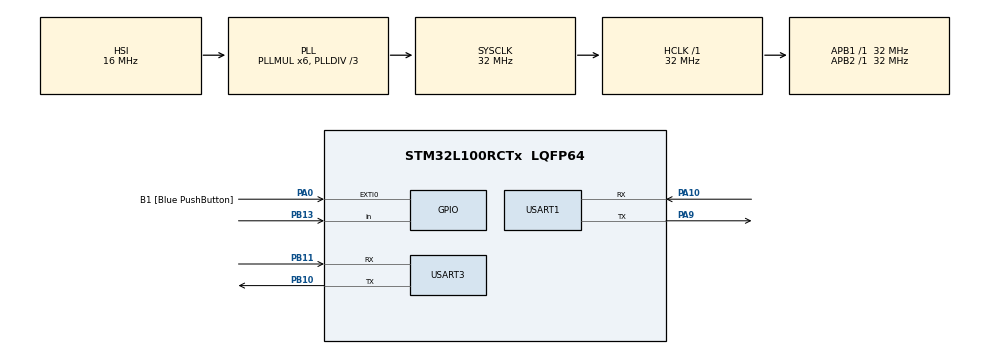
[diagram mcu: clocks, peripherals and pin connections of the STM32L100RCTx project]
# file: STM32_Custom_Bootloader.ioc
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Mcu.Family=STM32L1
Mcu.Name=STM32L100RCTx
Mcu.Package=LQFP64
NVIC.PriorityGroup=NVIC_PRIORITYGROUP_0
PA0-WKUP1.GPIO_Label=B1 [Blue PushButton]
PA0-WKUP1.GPIO_ModeDefaultEXTI=GPIO_MODE_EVT_RISING
PA0-WKUP1.Signal=GPXTI0
PA10.Mode=Asynchronous
PA10.Signal=USART1_RX
PA13.GPIO_Label=SWDIO
PA13.Mode=Serial_Wire
PA13.Signal=SYS_JTMS-SWDIO
PA14.GPIO_Label=SWCLK
PA14.Mode=Serial_Wire
PA14.Signal=SYS_JTCK-SWCLK
PA9.Mode=Asynchronous
PA9.Signal=USART1_TX
PB10.Mode=Asynchronous
PB10.Signal=USART3_TX
PB11.Mode=Asynchronous
PB11.Signal=USART3_RX
PB13.Signal=GPIO_Input
PB3.GPIO_Label=SWO
PB3.Signal=SYS_JTDO-TRACESWO
PC14-OSC32_IN.GPIO_Label=PC14-OSC32_IN
PC14-OSC32_IN.Signal=RCC_OSC32_IN
PC15-OSC32_OUT.GPIO_Label=PC15-OSC32_OUT
PC15-OSC32_OUT.Signal=RCC_OSC32_OUT
PH0-OSC_IN.GPIO_Label=PH0-OSC_IN
PH0-OSC_IN.Mode=HSE-External-Clock-Source
PH0-OSC_IN.Signal=RCC_OSC_IN
PH1-OSC_OUT.GPIO_Label=PH1-OSC_OUT
PH1-OSC_OUT.Signal=RCC_OSC_OUT
ProjectManager.HeapSize=0x200
ProjectManager.StackSize=0x400
ProjectManager.TargetToolchain=SW4STM32
RCC.48MHZClocksFreq_Value=48000000
RCC.AHBFreq_Value=32000000
RCC.APB1Freq_Value=32000000
RCC.APB1TimFreq_Value=32000000
RCC.APB2Freq_Value=32000000
RCC.APB2TimFreq_Value=32000000
RCC.HCLKFreq_Value=32000000
RCC.HSE_VALUE=8000000
RCC.HSI_VALUE=16000000
RCC.LSEState=RCC_LSE_ON
RCC.LSE_VALUE=32768
RCC.MSI_VALUE=2097000
RCC.PLLDIV=RCC_PLL_DIV3
RCC.PLLMUL=RCC_PLL_MUL6
RCC.RTCClockSelectionVirtual=RCC_RTCCLKSOURCE_LSE
RCC.SYSCLKFreq_VALUE=32000000
RCC.SYSCLKSource=RCC_SYSCLKSOURCE_PLLCLK
RCC.USBOutput=48000000
RCC.VCOOutputFreq_Value=96000000
USART1.VirtualMode=VM_ASYNC
USART3.VirtualMode=VM_ASYNC
VP_CRC_VS_CRC.Mode=CRC_Activate
board=32L100CDISCOVERY

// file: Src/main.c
/* USER CODE BEGIN Header */
/**
  ******************************************************************************
  * @file           : main.c
  * @brief          : Main program body
  ******************************************************************************
  ** This notice applies to any and all portions of this file
  * that are not between comment pairs USER CODE BEGIN and
  * USER CODE END. Other portions of this file, whether
  * inserted by the user or by software development tools
  * are owned by their respective copyright owners.
  *
  * COPYRIGHT(c) 2021 STMicroelectronics
  *
  * Redistribution and use in source and binary forms, with or without modification,
  * are permitted provided that the following conditions are met:
  *   1. Redistributions of source code must retain the above copyright notice,
  *      this list of conditions and the following disclaimer.
  *   2. Redistributions in binary form must reproduce the above copyright notice,
  *      this list of conditions and the following disclaimer in the documentation
  *      and/or other materials provided with the distribution.
  *   3. Neither the name of STMicroelectronics nor the names of its contributors
  *      may be used to endorse or promote products derived from this software
  *      without specific prior written permission.
  *
  * THIS SOFTWARE IS PROVIDED BY THE COPYRIGHT HOLDERS AND CONTRIBUTORS "AS IS"
  * AND ANY EXPRESS OR IMPLIED WARRANTIES, INCLUDING, BUT NOT LIMITED TO, THE
  * IMPLIED WARRANTIES OF MERCHANTABILITY AND FITNESS FOR A PARTICULAR PURPOSE ARE
  * DISCLAIMED. IN NO EVENT SHALL THE COPYRIGHT HOLDER OR CONTRIBUTORS BE LIABLE
  * FOR ANY DIRECT, INDIRECT, INCIDENTAL, SPECIAL, EXEMPLARY, OR CONSEQUENTIAL
  * DAMAGES (INCLUDING, BUT NOT LIMITED TO, PROCUREMENT OF SUBSTITUTE GOODS OR
  * SERVICES; LOSS OF USE, DATA, OR PROFITS; OR BUSINESS INTERRUPTION) HOWEVER
  * CAUSED AND ON ANY THEORY OF LIABILITY, WHETHER IN CONTRACT, STRICT LIABILITY,
  * OR TORT (INCLUDING NEGLIGENCE OR OTHERWISE) ARISING IN ANY WAY OUT OF THE USE
  * OF THIS SOFTWARE, EVEN IF ADVISED OF THE POSSIBILITY OF SUCH DAMAGE.
  *
  ******************************************************************************
  */
/* USER CODE END Header */

#include "main.h"
#include "crc.h"
#include "usart.h"
#include "gpio.h"

/* USER CODE BEGIN Includes */
#include "retarget.h"
/* USER CODE END Includes */

/* USER CODE BEGIN PD */
#define BL_RX_LEN  200
/* USER CODE END PD */

/* USER CODE BEGIN PV */
 uint8_t bl_rx_buffer[BL_RX_LEN];

 uint8_t supported_commands[] = {
                                BL_GET_VER ,
                                BL_GET_HELP,
                                BL_GET_CID,
                                BL_GET_RDP_STATUS,
                                BL_GO_TO_ADDR,
                                BL_FLASH_ERASE,
                                BL_MEM_WRITE,
                                BL_READ_SECTOR_P_STATUS} ;

/* USER CODE END PV */

void SystemClock_Config(void);

int main(void)
{

  /* MCU Configuration--------------------------------------------------------*/

  /* Reset of all peripherals, Initializes the Flash interface and the Systick. */
  HAL_Init();

  /* Configure the system clock */
  SystemClock_Config();

  /* Initialize all configured peripherals */
  MX_GPIO_Init();
  MX_USART1_UART_Init();
  MX_USART3_UART_Init();
  MX_CRC_Init();
  /* USER CODE BEGIN 2 */
//  char *data = "harry from uart1\r\n";
//  char *data1 = "harry from uart2\r\n";
  RetargetInit(&huart3);
  if(HAL_GPIO_ReadPin(GPIOB,GPIO_PIN_13) == GPIO_PIN_SET) {
		 printf("we are in a bootloader mode \r\n");
		 bootloader_uart_read_data();
  } else {
		 printf("we are in a application \r\n");
		 bootloader_jump_to_user_app();
  }

  /* USER CODE END 2 */

  /* Infinite loop */
  while (1)
  {

    /* USER CODE BEGIN 3 */
//	  HAL_UART_Transmit(&huart1,(uint8_t*)data,strlen(data),HAL_MAX_DELAY);
//	  HAL_UART_Transmit(&huart3,(uint8_t*)data1,strlen(data1),HAL_MAX_DELAY);
//	 printf("welcome to the app \r\n");

  }
  /* USER CODE END 3 */
}

void bootloader_uart_read_data(void) {
	uint8_t rcv_len = 0;
	while(1){
		memset(bl_rx_buffer,0,200);
		//here we will read and decode the commands coming from host
		//first read only one byte from the host , which is the "length" field of the command packet
        HAL_UART_Receive(&huart1,bl_rx_buffer,1,HAL_MAX_DELAY);
        rcv_len= bl_rx_buffer[0];
        HAL_UART_Receive(&huart1,&bl_rx_buffer[1],rcv_len,HAL_MAX_DELAY);
        switch(bl_rx_buffer[1]) {
        case BL_GET_VER:
            bootloader_handle_getver_cmd(bl_rx_buffer);
            break;
        case BL_GET_HELP:
            bootloader_handle_gethelp_cmd(bl_rx_buffer);
            break;
        case BL_GET_CID:
            bootloader_handle_getcid_cmd(bl_rx_buffer);
            break;
        case BL_GET_RDP_STATUS:
            bootloader_handle_getrdp_cmd(bl_rx_buffer);
            break;
        case BL_GO_TO_ADDR:
            bootloader_handle_go_cmd(bl_rx_buffer);
            break;
        case BL_FLASH_ERASE:
            bootloader_handle_flash_erase_cmd(bl_rx_buffer);
            break;
        case BL_MEM_WRITE:
            bootloader_handle_mem_write_cmd(bl_rx_buffer);
            break;
         default:
            printf("Invalid command code received from host \r\n");
            break;
        }
	}
}

/*code to jump to user application
 *Here we are assuming FLASH_SECTOR2_BASE_ADDRESS
 *is where the user application is stored
 */
void bootloader_jump_to_user_app(void)
{

   //just a function pointer to hold the address of the reset handler of the user app.
    void (*app_reset_handler)(void);

    // 1. configure the MSP by reading the value from the base address of the sector 2
    uint32_t msp_value = *(volatile uint32_t *)FLASH_SECTOR2_BASE_ADDRESS;
    printf("MSP value : %#x \r\n",msp_value);

    //This function comes from CMSIS.
    __set_MSP(msp_value);

//    SCB->VTOR = FLASH_SECTOR1_BASE_ADDRESS;

    /* 2. Now fetch the reset handler address of the user application
     * from the location FLASH_SECTOR2_BASE_ADDRESS+4
     */
    uint32_t resethandler_address = *(volatile uint32_t *) (FLASH_SECTOR2_BASE_ADDRESS + 4);

    app_reset_handler = (void*) resethandler_address;

    printf("app reset handler addr : %#x \r\n",app_reset_handler);

    //3. jump to reset handler of the user application
    app_reset_handler();
}

void SystemClock_Config(void)
{
  RCC_OscInitTypeDef RCC_OscInitStruct = {0};
  RCC_ClkInitTypeDef RCC_ClkInitStruct = {0};

  /**Configure the main internal regulator output voltage
  */
  __HAL_PWR_VOLTAGESCALING_CONFIG(PWR_REGULATOR_VOLTAGE_SCALE1);
  /**Initializes the CPU, AHB and APB busses clocks
  */
  RCC_OscInitStruct.OscillatorType = RCC_OSCILLATORTYPE_HSI;
  RCC_OscInitStruct.HSIState = RCC_HSI_ON;
  RCC_OscInitStruct.HSICalibrationValue = RCC_HSICALIBRATION_DEFAULT;
  RCC_OscInitStruct.PLL.PLLState = RCC_PLL_ON;
  RCC_OscInitStruct.PLL.PLLSource = RCC_PLLSOURCE_HSI;
  RCC_OscInitStruct.PLL.PLLMUL = RCC_PLL_MUL6;
  RCC_OscInitStruct.PLL.PLLDIV = RCC_PLL_DIV3;
  if (HAL_RCC_OscConfig(&RCC_OscInitStruct) != HAL_OK)
  {
    Error_Handler();
  }
  /**Initializes the CPU, AHB and APB busses clocks
  */
  RCC_ClkInitStruct.ClockType = RCC_CLOCKTYPE_HCLK|RCC_CLOCKTYPE_SYSCLK
                              |RCC_CLOCKTYPE_PCLK1|RCC_CLOCKTYPE_PCLK2;
  RCC_ClkInitStruct.SYSCLKSource = RCC_SYSCLKSOURCE_PLLCLK;
  RCC_ClkInitStruct.AHBCLKDivider = RCC_SYSCLK_DIV1;
  RCC_ClkInitStruct.APB1CLKDivider = RCC_HCLK_DIV1;
  RCC_ClkInitStruct.APB2CLKDivider = RCC_HCLK_DIV1;

  if (HAL_RCC_ClockConfig(&RCC_ClkInitStruct, FLASH_LATENCY_1) != HAL_OK)
  {
    Error_Handler();
  }
}

void Error_Handler(void)
{
}

/************************ (C) COPYRIGHT STMicroelectronics *****END OF FILE****/

/**************Implementation of Boot-loader Command Handle functions *********/

/*Helper function to handle BL_GET_VER command */
void bootloader_handle_getver_cmd(uint8_t *bl_rx_buffer)
{
    uint8_t bl_version;

    // 1) verify the checksum
      printf("bootloader Getting version ... \r\n");

	 //Total length of the command packet
	  uint32_t command_packet_len = bl_rx_buffer[0]+1 ;

	  //extract the CRC32 sent by the Host
	  uint32_t host_crc = *((uint32_t * ) (bl_rx_buffer+command_packet_len - 4) ) ;

    if (! bootloader_verify_crc(&bl_rx_buffer[0],command_packet_len-4,host_crc))
    {
        printf("checksum success !! \r\n");
        // checksum is correct..
        bootloader_send_ack(bl_rx_buffer[0],1);
        bl_version=get_bootloader_version();
        printf("Bootloader version  : %d %#x \r\n",bl_version,bl_version);
        bootloader_uart_write_data(&bl_version,1);

    }else
    {
        printf("checksum fail !!\n");
        //checksum is wrong send nack
        bootloader_send_nack();
    }

}

/*This function sends ACK if CRC matches along with "len to follow"*/

void bootloader_send_ack(uint8_t command_code, uint8_t follow_len) {
	 //here we send 2 byte.. first byte is ack and the second byte is len value
	uint8_t ack_buf[2];
	ack_buf[0] = BL_ACK;
	ack_buf[1] = follow_len;
	HAL_UART_Transmit(&huart1,ack_buf,2,HAL_MAX_DELAY);

}

/*This function sends NACK */
void bootloader_send_nack(void) {
	uint8_t nack = BL_NACK;
	HAL_UART_Transmit(&huart1,&nack,1,HAL_MAX_DELAY);
}

//This verifies the CRC of the given buffer in pData .
uint8_t bootloader_verify_crc (uint8_t *pData, uint32_t len, uint32_t crc_host)
{
    uint32_t uwCRCValue=0xff;

    for (uint32_t i=0 ; i < len ; i++)
	{
        uint32_t i_data = pData[i];
        uwCRCValue = HAL_CRC_Accumulate(&hcrc, &i_data, 1);
	}

	 /* Reset CRC Calculation Unit */
  __HAL_CRC_DR_RESET(&hcrc);

	if( uwCRCValue == crc_host)
	{
		return VERIFY_CRC_SUCCESS;
	}

	return VERIFY_CRC_FAIL;
}
/* This function writes data in to C_UART */
void bootloader_uart_write_data(uint8_t *pBuffer,uint32_t len)
{
    /*you can replace the below ST's USART driver API call with your MCUs driver API call */
	HAL_UART_Transmit(&huart1,pBuffer,len,HAL_MAX_DELAY);

}

//Just returns the macro value .
uint8_t get_bootloader_version(void)
{
  return (uint8_t)BL_VERSION;
}

/*Helper function to handle BL_GET_HELP command
 * Bootloader sends out All supported Command codes
 */
void bootloader_handle_gethelp_cmd(uint8_t *pBuffer)
{
    printf("Geting Supported commands.... \r\n");

	//Total length of the command packet
	uint32_t command_packet_len = bl_rx_buffer[0]+1 ;

	//extract the CRC32 sent by the Host
	uint32_t host_crc = *((uint32_t * ) (bl_rx_buffer+command_packet_len - 4) ) ;

	if (! bootloader_verify_crc(&bl_rx_buffer[0],command_packet_len-4,host_crc))
	{
        printf("checksum success !! \r\n");
        bootloader_send_ack(pBuffer[0],sizeof(supported_commands));
        bootloader_uart_write_data(supported_commands,sizeof(supported_commands) );

	}else {
        printf("checksum fail !! \r\n");
        bootloader_send_nack();
	}

}

/*Helper function to handle BL_GET_CID command */
void bootloader_handle_getcid_cmd(uint8_t *pBuffer)
{
	uint16_t bl_cid_num = 0;
	printf("Getting Chip Id ...\r\n");

    //Total length of the command packet
	uint32_t command_packet_len = bl_rx_buffer[0]+1 ;

	//extract the CRC32 sent by the Host
	uint32_t host_crc = *((uint32_t * ) (bl_rx_buffer+command_packet_len - 4) ) ;

	if (! bootloader_verify_crc(&bl_rx_buffer[0],command_packet_len-4,host_crc))
	{
        printf("checksum success !! \r\n");
        bootloader_send_ack(pBuffer[0],2);
        bl_cid_num = get_mcu_chip_id();
        printf("MCU id : %d %#x !! \r\n",bl_cid_num, bl_cid_num);
        bootloader_uart_write_data((uint8_t *)&bl_cid_num,2);

	}else
	{
        printf("checksum fail !!\n");
        bootloader_send_nack();
	}

}

//Read the chip identifier or device Identifier
uint16_t get_mcu_chip_id(void)
{
/*
	The STM32L100C discovery board MCUs integrate an MCU ID code. This ID identifies the ST MCU partnumber
	and the die revision. It is part of the DBG_MCU component and is mapped on the
	external PPB bus port (4 to 5 pins) or the SW debug port (two pins) or by the user software.
	It is even accessible while the MCU is under system reset. */
	uint16_t cid;
	cid = (uint16_t)(DBGMCU->IDCODE) & 0x0FFF;
	return  cid;

}

/*Helper function to handle BL_GET_RDP_STATUS command */
void bootloader_handle_getrdp_cmd(uint8_t *pBuffer)
{
    uint8_t rdp_level = 0x00;
    printf("bootloader Getting RDP leval \r\n");

    //Total length of the command packet
	uint32_t command_packet_len = bl_rx_buffer[0]+1 ;

	//extract the CRC32 sent by the Host
	uint32_t host_crc = *((uint32_t * ) (bl_rx_buffer+command_packet_len - 4) ) ;

	if (! bootloader_verify_crc(&bl_rx_buffer[0],command_packet_len-4,host_crc))
	{
        printf("checksum success !! \r\n");
        bootloader_send_ack(pBuffer[0],1);
        rdp_level = get_flash_rdp_level();
        printf("RDP level: %d %#x \r\n",rdp_level,rdp_level);
        bootloader_uart_write_data(&rdp_level,1);

	}else
	{
        printf("checksum fail !! \r\n");
        bootloader_send_nack();
	}

}

/*This function reads the RDP ( Read protection option byte) value
 *For more info refer "Table 9. Description of the option bytes" in stm32f446xx RM
 */
uint8_t get_flash_rdp_level(void)
{

	uint8_t rdp_status=0;
#if 1
	FLASH_OBProgramInitTypeDef  ob_handle;
	HAL_FLASHEx_OBGetConfig(&ob_handle);
	rdp_status = (uint8_t)ob_handle.RDPLevel;
#else

	 volatile uint32_t *pOB_addr = (uint32_t*) 0x1FFFC000;
	 rdp_status =  (uint8_t)(*pOB_addr >> 8) ;
#endif

	return rdp_status;

}

/*Helper function to handle BL_GO_TO_ADDR command */
void bootloader_handle_go_cmd(uint8_t *pBuffer)
{
    uint32_t go_address=0;
    uint8_t addr_valid = ADDR_VALID;
    uint8_t addr_invalid = ADDR_INVALID;

    printf("Going to address.. \r\n");

    //Total length of the command packet
	uint32_t command_packet_len = bl_rx_buffer[0]+1 ;

	//extract the CRC32 sent by the Host
	uint32_t host_crc = *((uint32_t * ) (bl_rx_buffer+command_packet_len - 4) ) ;

	if (! bootloader_verify_crc(&bl_rx_buffer[0],command_packet_len-4,host_crc))
	{
        printf("checksum success !! \r\n");

        bootloader_send_ack(pBuffer[0],1);

        //extract the go address
        go_address = *((uint32_t *)&pBuffer[2] );
        printf("GO addr: %#x \r\n",go_address);

        if( verify_address(go_address) == ADDR_VALID )
        {
            //tell host that address is fine
            bootloader_uart_write_data(&addr_valid,1);

            /*jump to "go" address.
            we dont care what is being done there.
            host must ensure that valid code is present over there
            Its not the duty of bootloader. so just trust and jump */

            /* Not doing the below line will result in hardfault exception for ARM cortex M */
            //watch : https://www.youtube.com/watch?v=VX_12SjnNhY

//            go_address+=1; //make T bit =1

            void (*lets_jump)(void) = (void *)go_address;

            printf("jumping to go address! \r\n");

            lets_jump();

		}else
		{
            printf("GO addr invalid ! \r\n");
            //tell host that address is invalid
            bootloader_uart_write_data(&addr_invalid,1);
		}

	}else
	{
        printf("checksum fail !! \r\n");
        bootloader_send_nack();
	}

}

//verify the address sent by the host .
uint8_t verify_address(uint32_t go_address)
{

	if ( go_address >= SRAM_BASE && go_address <= SRAM_END)
	{
		return ADDR_VALID;
	}
	else if ( go_address >= FLASH_BASE && go_address <= FLASH_END)
	{
		return ADDR_VALID;
	}
	else
		return ADDR_INVALID;
}

/*Helper function to handle BL_FLASH_ERASE command */
void bootloader_handle_flash_erase_cmd(uint8_t *pBuffer)
{
    uint8_t erase_status = 0x00;
    printf("Erasing flash.... \r\n");

    //Total length of the command packet
	uint32_t command_packet_len = bl_rx_buffer[0]+1 ;

	//extract the CRC32 sent by the Host
	uint32_t host_crc = *((uint32_t * ) (bl_rx_buffer+command_packet_len - 8) ) ;
	printf("host crc is 0x%X \r\n",host_crc);

	if (!bootloader_verify_crc(&bl_rx_buffer[0],command_packet_len-8,host_crc))
	{
        printf("checksum success !! \r\n");
        bootloader_send_ack(pBuffer[0],1);
        printf("initial_page : %d  no of page: %d \r\n",pBuffer[2],pBuffer[3]);
        uint32_t address_of_page= 0;
        memcpy(&address_of_page,&pBuffer[8],4);
        printf("address is 0x%X \r\n",address_of_page);
        HAL_GPIO_WritePin(MY_LED_GPIO_Port, MY_LED_Pin ,1);
        erase_status = execute_flash_erase(pBuffer[2] , pBuffer[3] , address_of_page );
        HAL_GPIO_WritePin(MY_LED_GPIO_Port, MY_LED_Pin,0);

        printf("flash erase status: %#x \r\n",erase_status);

        bootloader_uart_write_data(&erase_status,1);

	}else
	{
        printf("checksum fail !! \r\n");
        bootloader_send_nack();
	}
}

uint8_t execute_flash_erase(uint8_t page_number , uint8_t number_of_page , uint32_t address) {
	FLASH_EraseInitTypeDef flashErase_handle;
	uint32_t PageError;
	HAL_StatusTypeDef status;

	if( number_of_page > 1023U )
		return INVALID_PAGE;

	if( (page_number <= 1023) ) {
		    /*Here we are just calculating how many sectors needs to erased */
			uint8_t remanining_page = 1023 - page_number;
           if( number_of_page > remanining_page)
           {
           	number_of_page = remanining_page;
           }
			flashErase_handle.TypeErase = FLASH_TYPEERASE_PAGES;
			flashErase_handle.NbPages = number_of_page; // this is the initial sector
		    flashErase_handle.PageAddress = address;
		    printf("Page erase address is 0x%X \r\n",flashErase_handle.PageAddress);

		/*Get access to touch the flash registers */
		HAL_FLASH_Unlock();
		status = (uint8_t) HAL_FLASHEx_Erase(&flashErase_handle, &PageError);
		HAL_FLASH_Lock();

		return status;
	}
	return INVALID_PAGE;
}

/*Helper function to handle BL_MEM_WRITE command */
void bootloader_handle_mem_write_cmd(uint8_t *pBuffer)
{
	uint8_t addr_valid = ADDR_VALID;
	uint8_t write_status = 0x00;
	uint8_t chksum =0, len=0;
	len = pBuffer[0];
	uint8_t payload_len = pBuffer[6];

	uint32_t mem_address = *((uint32_t *) ( &pBuffer[2]) );

	chksum = pBuffer[len];

    printf("bootloader_handle_mem_write_cmd \r\n");

    //Total length of the command packet
	uint32_t command_packet_len = bl_rx_buffer[0]+1 ;

	//extract the CRC32 sent by the Host
	uint32_t host_crc = *((uint32_t * ) (bl_rx_buffer+command_packet_len - 4) ) ;

	if (! bootloader_verify_crc(&bl_rx_buffer[0],command_packet_len-4,host_crc))
	{
        printf("checksum success !! \r\n");

        bootloader_send_ack(pBuffer[0],1);

        printf("mem write address : %#x \r\n",mem_address);

		if( verify_address(mem_address) == ADDR_VALID )
		{

            printf("valid mem write address\r\n");

            //glow the led to indicate bootloader is currently writing to memory
            HAL_GPIO_WritePin(MY_LED_GPIO_Port, MY_LED_Pin ,1);
            uint32_t tempBufr = 0;
            memcpy(&tempBufr,&pBuffer[7],4);
            //execute mem write
            write_status = execute_mem_write(tempBufr,mem_address, payload_len);

            //turn off the led to indicate memory write is over
            HAL_GPIO_WritePin(MY_LED_GPIO_Port, MY_LED_Pin ,0);

            //inform host about the status
            bootloader_uart_write_data(&write_status,1);

		}else
		{
            printf("invalid mem write address \r\n");
            write_status = ADDR_INVALID;
            //inform host that address is invalid
            bootloader_uart_write_data(&write_status,1);
		}

	}else
	{
        printf("checksum fail !! \r\n");
        bootloader_send_nack();
	}

}

/*This function writes the contents of pBuffer to  "mem_address" byte by byte */
//Note1 : Currently this function supports writing to Flash only .
//Note2 : This functions does not check whether "mem_address" is a valid address of the flash range.
uint8_t execute_mem_write(uint32_t pBuffer, uint32_t mem_address, uint32_t len)
{
    uint8_t status=HAL_OK;

    //We have to unlock flash module to get control of registers
    HAL_FLASH_Unlock();

//    for(uint32_t i = 0 ; i <len ; i+= 4)
//    {

        //Here we program the flash word to word
        status = HAL_FLASH_Program(FLASH_TYPEPROGRAM_WORD,mem_address,pBuffer);
//        mem_address += 4;
//    }

    HAL_FLASH_Lock();

    return status;
}
